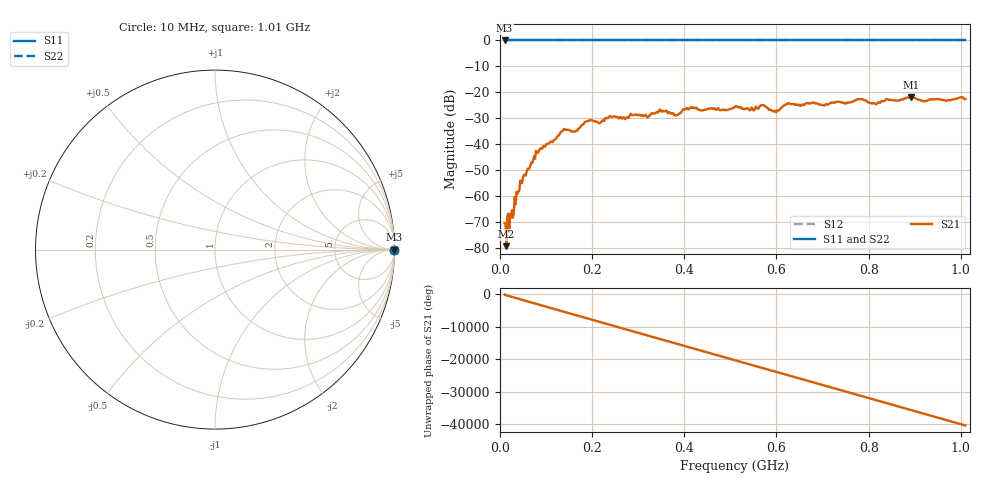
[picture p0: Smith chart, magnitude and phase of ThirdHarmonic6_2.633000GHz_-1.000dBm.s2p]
! 8/17/2025 5:54:09 AM
! C:\ANRITSUVNA\TEMP\TEMP.S2P
! CHANNEL.1
! TR.MEASUREMENT
! RAW.DATA
! RF.CORRECTION.OFF
! AVERAGING.OFF
! IF.BANDWIDTH: 5KHZ
! SWEEPTYPE:  FREQ.SWEEP(Linear)
! Reference Plane Port Info
! PORT:  PORT1  PORT2
! DISTANCE:  0  m  0  m
! TIME:  0  s  0  s
! PHASE.OFFSET:  0  deg.  0  deg.
! LOSS:  0  dB  0  dB
! REF.LOSS:  0  dB  0  dB
! REF.FREQ:  0  Hz  0  Hz
! Power Info
! POWER:  -20  dBm  -20  dBm
! EFF.POWER:  -20  dBm  -20  dBm
! SOURCE.ATTEN:  0  dB  0  dB
! TEST.ATTEN:  0  dB  0  dB
# GHZ S RI R 50.0
! FREQ.GHZ  S11RE  S11IM  S21RE  S21IM  S12RE  S12IM  S22RE  S22IM
!; PortSelection: Port_12
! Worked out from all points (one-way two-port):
!   501 points, 10 MHz to 1.01 GHz, reference 50 ohm
!   highest |S21| = -21.81 dB at 892 MHz (marker M1); lowest = -79.4 dB at 14 MHz (marker M2)
!   lowest |S11| = 0.0 dB at 10 MHz (marker M3)
!   |S11| at or under -10 dB: nowhere
!   |S22| runs from 0.0 to 0.0 dB; largest |S21 - S12| = 1.1
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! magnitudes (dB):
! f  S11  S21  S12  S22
! 10 MHz  0.0  -70.5  0.0  0.0
! 14 MHz  0.0  -79.4  0.0  0.0
! 24 MHz  0.0  -68.4  0.0  0.0
! 48 MHz  0.0  -55.1  0.0  0.0
! 82 MHz  0.0  -43.3  0.0  0.0
! 136 MHz  0.0  -34.9  0.0  0.0
! 164 MHz  0.0  -35.0  0.0  0.0
! 178 MHz  0.0  -32.5  0.0  0.0
! 194 MHz  0.0  -30.9  0.0  0.0
! 344 MHz  0.0  -27.6  0.0  0.0
! 382 MHz  0.0  -28.8  0.0  0.0
! 416 MHz  0.0  -26.1  0.0  0.0
! 510 MHz  0.0  -25.7  0.0  0.0
! 570 MHz  0.0  -25.0  0.0  0.0
! 596 MHz  0.0  -27.1  0.0  0.0
! 624 MHz  0.0  -24.3  0.0  0.0
! 678 MHz  0.0  -24.1  0.0  0.0
! 782 MHz  0.0  -22.7  0.0  0.0
! 814 MHz  0.0  -24.4  0.0  0.0
! 844 MHz  0.0  -22.9  0.0  0.0
! 892 MHz  0.0  -21.8  0.0  0.0
! 1.01 GHz  0.0  -22.6  0.0  0.0
